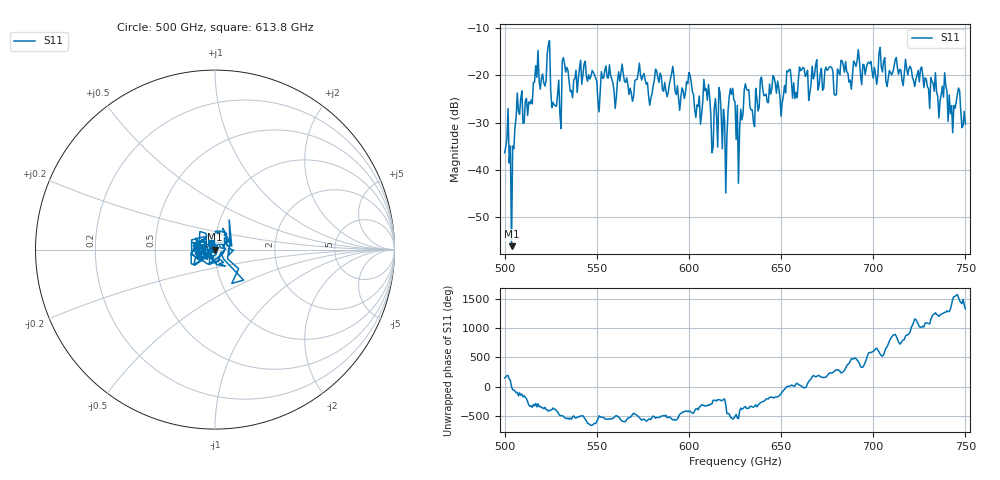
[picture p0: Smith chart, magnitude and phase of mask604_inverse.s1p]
!Created with skrf (http://scikit-rf.org).
# GHz S MA R 50.0
!freq magS11 angS11
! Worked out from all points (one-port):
!   401 points, 500 GHz to 750 GHz, reference 50 ohm
!   lowest |S11| = -56.1 dB at 503.8 GHz (marker M1), VSWR 1.00, Z = 50.2 - j0.00298 ohm
!   |S11| at or under -10 dB: start of sweep to end of sweep
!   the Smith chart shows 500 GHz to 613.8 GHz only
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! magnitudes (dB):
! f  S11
! 500 GHz  -36.4
! 503.8 GHz  -56.1
! 508.1 GHz  -28.3
! 513.8 GHz  -26.0
! 516.9 GHz  -18.0
! 523.8 GHz  -13.5
! 526.9 GHz  -26.3
! 531.2 GHz  -17.0
! 532.5 GHz  -17.4
! 536.2 GHz  -23.2
! 562.5 GHz  -21.2
! 593.8 GHz  -22.2
! 600 GHz  -19.4
! 605 GHz  -26.6
! 609.4 GHz  -22.9
! 612.5 GHz  -36.4
! 617.5 GHz  -28.1
! 619.4 GHz  -29.7
! 622.5 GHz  -22.8
! 625 GHz  -25.5
! 626.9 GHz  -42.8
! 631.2 GHz  -22.9
! 634.4 GHz  -27.3
! 640 GHz  -22.7
! 656.2 GHz  -24.8
! 687.5 GHz  -21.0
! 718.8 GHz  -19.9
! 750 GHz  -30.3
